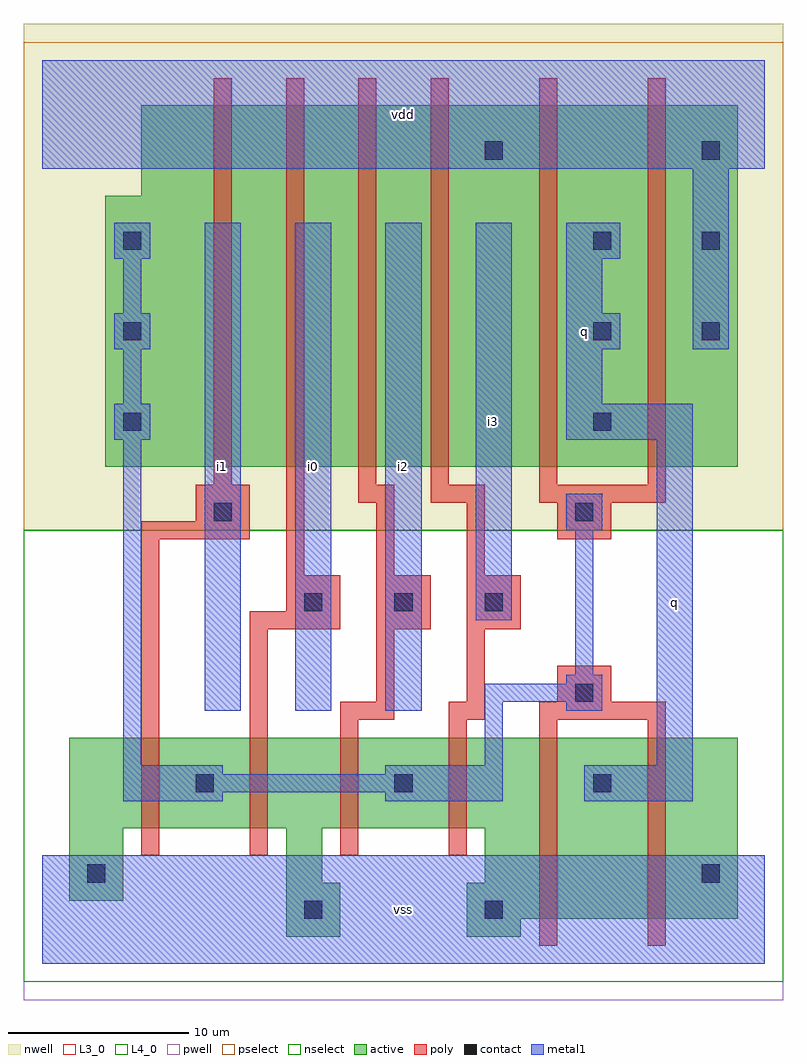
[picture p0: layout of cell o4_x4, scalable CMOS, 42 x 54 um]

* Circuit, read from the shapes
.subckt o4_x4 i0 i1 i2 i3 q vdd vss
M1 n1 i1 vss VSUBS nfet w=5u l=1u
M2 vss i0 n1 VSUBS nfet w=5u l=1u
M3 n1 i2 vss VSUBS nfet w=5u l=1u
M4 vss i3 n1 VSUBS nfet w=5u l=1u
M5 q n1 vss VSUBS nfet w=10u l=1u m=2
M6 n2 i1 n1 n3 pfet w=20u l=1u
M7 n4 i0 n2 n3 pfet w=20u l=1u
M8 n5 i2 n4 n3 pfet w=20u l=1u
M9 vdd i3 n5 n3 pfet w=20u l=1u
M10 q n1 vdd n3 pfet w=20u l=1u m=2
.ends

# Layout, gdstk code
import gdstk
lib = gdstk.Library(unit=1e-6, precision=1e-09)
def R(c, l, rs):  # rectangles x0, y0, x1, y1
    for r in rs: c.add(gdstk.rectangle(r[:2], r[2:], *l))
def A(c, l, x, y, w, h, nx, ny, dx, dy):  # array of equal rectangles
    R(c, l, [(x+i*dx, y+j*dy, x+i*dx+w, y+j*dy+h) for i in range(nx) for j in range(ny)])
L3_0 = (3, 0)
L4_0 = (4, 0)
contact = (25, 0)
pwell = (41, 0)
nwell = (42, 0)
active = (43, 0)
pselect = (44, 0)
nselect = (45, 0)
poly = (46, 0)
metal1 = (49, 0)

o4_x4 = lib.new_cell('o4_x4')
R(o4_x4, L3_0, [(13.5,1.5,16.5,4.5), (23.5,1.5,26.5,2.5), (23.5,2.5,38.5,4.5), (1.5,3.5,4.5,7.5), (13.5,4.5,15.5,7.5), (24.5,4.5,38.5,7.5), (1.5,7.5,38.5,12.5)])
R(o4_x4, L4_0, [(3.5,27.5,38.5,42.5), (5.5,42.5,38.5,47.5)])
A(o4_x4, contact, 8.5, 9.5, 1, 1, 3, 1, 11, 0)
A(o4_x4, contact, 14.5, 19.5, 1, 1, 3, 1, 5, 0)
A(o4_x4, contact, 4.5, 29.5, 1, 1, 1, 3, 0, 5)
A(o4_x4, contact, 30.5, 29.5, 1, 1, 1, 3, 0, 5)
A(o4_x4, contact, 36.5, 34.5, 1, 1, 1, 3, 0, 5)
R(o4_x4, contact, [(14.5,2.5,15.5,3.5), (24.5,2.5,25.5,3.5), (2.5,4.5,3.5,5.5), (36.5,4.5,37.5,5.5), (29.5,14.5,30.5,15.5), (9.5,24.5,10.5,25.5), (29.5,24.5,30.5,25.5), (24.5,44.5,25.5,45.5)])
R(o4_x4, pwell, [(-1,-2,41,24)])
R(o4_x4, nwell, [(-1,24,41,52)])
R(o4_x4, active, [(13.5,1.5,16.5,4.5), (23.5,1.5,26.5,2.5), (23.5,2.5,38.5,4.5), (1.5,3.5,4.5,7.5), (13.5,4.5,15.5,7.5), (24.5,4.5,38.5,7.5), (1.5,7.5,38.5,12.5), (3.5,27.5,38.5,42.5), (5.5,42.5,38.5,47.5)])
R(o4_x4, pselect, [(-1,24,41,51)])
R(o4_x4, nselect, [(-1,-1,41,24)])
A(o4_x4, poly, 21.5, 26.5, 1, 22.5, 3, 1, 6, 0)
R(o4_x4, poly, [(27.5,1,28.5,13.5), (33.5,1,34.5,13.5), (5.5,6,6.5,23.5), (11.5,6,12.5,18.5), (16.5,6,17.5,13.5), (22.5,6,23.5,13.5), (16.5,13.5,19.5,14.5), (22.5,13.5,24.5,14.5), (27.5,13.5,34.5,14.5), (18.5,14.5,19.5,18.5), (23.5,14.5,24.5,18.5), (28.5,14.5,31.5,16.5), (11.5,18.5,16.5,19.5), (18.5,18.5,21.5,21.5), (23.5,18.5,26.5,21.5), (13.5,19.5,16.5,21.5), (13.5,21.5,14.5,49), (18.5,21.5,19.5,25.5), (23.5,21.5,24.5,25.5), (5.5,23.5,11.5,24.5), (28.5,23.5,31.5,25.5), (8.5,24.5,11.5,26.5), (17.5,25.5,19.5,26.5), (21.5,25.5,24.5,26.5), (27.5,25.5,34.5,26.5), (9.5,26.5,10.5,49), (17.5,26.5,18.5,49)])
A(o4_x4, metal1, 9, 14, 2, 27, 3, 1, 5, 0)
A(o4_x4, metal1, 4, 29, 2, 2, 1, 3, 0, 5)
R(o4_x4, metal1, [(0,0,40,6), (4.5,9,10,9.5), (19,9,25.5,9.5), (30,9,36,11), (4.5,9.5,25.5,10.5), (4.5,10.5,10,11), (19,10.5,25.5,11), (4.5,11,5.5,29), (24.5,11,25.5,14.5), (34,11,36,29), (29,14,31,14.5), (24.5,14.5,31,15.5), (29,15.5,31,16), (29.5,16,30.5,24), (24,19,26,41), (29,24,31,26), (29,29,36,31), (4.5,31,5.5,34), (29,31,31,34), (29,34,32,36), (36,34,38,44), (4.5,36,5.5,39), (29,36,31,39), (29,39,32,41), (0,44,40,50)])
o4_x4.add(gdstk.Label('i0', (15,27.5), layer=49, texttype=0))
o4_x4.add(gdstk.Label('i1', (10,27.5), layer=49, texttype=0))
o4_x4.add(gdstk.Label('vss', (20,3), layer=49, texttype=0))
o4_x4.add(gdstk.Label('i2', (20,27.5), layer=49, texttype=0))
o4_x4.add(gdstk.Label('i3', (25,30), layer=49, texttype=0))
o4_x4.add(gdstk.Label('vdd', (20,47), layer=49, texttype=0))
o4_x4.add(gdstk.Label('q', (35,20), layer=49, texttype=0))
o4_x4.add(gdstk.Label('q', (30,35), layer=49, texttype=0))

lib.write_gds('o4_x4.gds')
